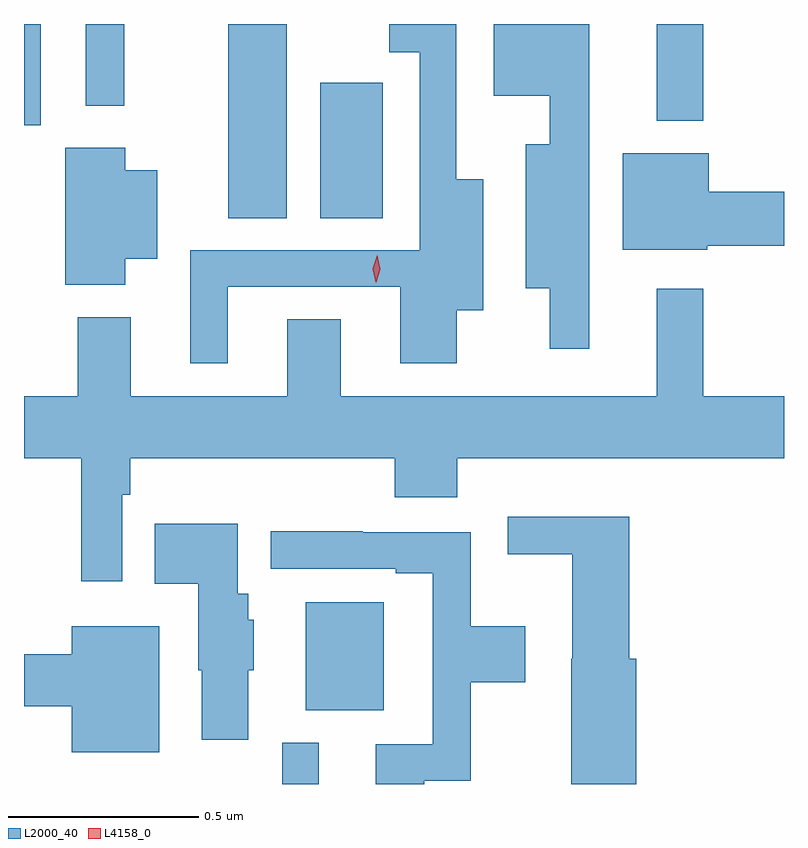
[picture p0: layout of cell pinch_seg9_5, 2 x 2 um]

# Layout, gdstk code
import gdstk
lib = gdstk.Library(unit=1e-6, precision=1e-09)
def R(c, l, rs):  # rectangles x0, y0, x1, y1
    for r in rs: c.add(gdstk.rectangle(r[:2], r[2:], *l))
def P(c, l, *ps):  # polygons
    for p in ps: c.add(gdstk.Polygon(p, *l))
L2000_40 = (2000, 40)
L4158_0 = (4158, 0)

pinch_seg9_5 = lib.new_cell('pinch_seg9_5')
R(pinch_seg9_5, L2000_40, [(1050.585,1231.527,1050.682,1231.636), (1050.647,1231.721,1050.853,1232.005), (1050.443,1233.016,1050.598,1233.527), (1050.686,1233.016,1050.85,1233.373), (1049.906,1233.26,1049.95,1233.527), (1051.571,1233.272,1051.693,1233.527), (1050.069,1233.312,1050.17,1233.527)])
P(pinch_seg9_5, L2000_40, [(1051.393,1233.527),(1051.142,1233.527),(1051.142,1233.338),(1051.289,1233.338),(1051.289,1233.211),(1051.226,1233.211),(1051.226,1232.831),(1051.289,1232.831),(1051.289,1232.673),(1051.393,1232.673)],
  [(1050.442,1232.835),(1050.896,1232.835),(1050.896,1232.634),(1051.045,1232.634),(1051.045,1232.774),(1051.114,1232.774),(1051.114,1233.118),(1051.044,1233.118),(1051.044,1233.527),(1050.867,1233.527),(1050.867,1233.453),(1050.948,1233.453),(1050.948,1232.931),(1050.344,1232.931),(1050.344,1232.634),(1050.442,1232.634)],
  [(1050.172,1232.909),(1050.256,1232.909),(1050.256,1233.142),(1050.172,1233.142),(1050.172,1233.202),(1050.014,1233.202),(1050.014,1232.841),(1050.172,1232.841)],
  [(1051.704,1232.944),(1051.906,1232.944),(1051.906,1233.086),(1051.708,1233.086),(1051.708,1233.187),(1051.481,1233.187),(1051.481,1232.933),(1051.704,1232.933)],
  [(1050.165,1232.288),(1050.185,1232.288),(1050.185,1232.384),(1050.881,1232.384),(1050.881,1232.282),(1051.046,1232.282),(1051.046,1232.384),(1051.906,1232.384),(1051.906,1232.548),(1051.693,1232.548),(1051.693,1232.83),(1051.571,1232.83),(1051.571,1232.548),(1050.739,1232.548),(1050.739,1232.75),(1050.599,1232.75),(1050.599,1232.548),(1050.187,1232.548),(1050.187,1232.755),(1050.047,1232.755),(1050.047,1232.548),(1049.906,1232.548),(1049.906,1232.384),(1050.057,1232.384),(1050.057,1232.061),(1050.165,1232.061)],
  [(1051.517,1231.857),(1051.499,1231.857),(1051.499,1232.23),(1051.179,1232.23),(1051.179,1232.132),(1051.349,1232.132),(1051.349,1231.857),(1051.346,1231.857),(1051.346,1231.527),(1051.517,1231.527)],
  [(1050.496,1231.827),(1050.511,1231.827),(1050.511,1231.959),(1050.496,1231.959),(1050.496,1232.028),(1050.469,1232.028),(1050.469,1232.212),(1050.25,1232.212),(1050.25,1232.054),(1050.365,1232.054),(1050.365,1231.827),(1050.374,1231.827),(1050.374,1231.644),(1050.496,1231.644)],
  [(1050.959,1231.535),(1051.082,1231.535),(1051.082,1231.795),(1051.225,1231.795),(1051.225,1231.942),(1051.082,1231.942),(1051.082,1232.19),(1050.797,1232.19),(1050.797,1232.192),(1050.555,1232.192),(1050.555,1232.094),(1050.884,1232.094),(1050.884,1232.082),(1050.981,1232.082),(1050.981,1231.632),(1050.831,1231.632),(1050.831,1231.527),(1050.959,1231.527)],
  [(1050.262,1231.942),(1050.032,1231.942),(1050.032,1231.868),(1049.906,1231.868),(1049.906,1231.732),(1050.032,1231.732),(1050.032,1231.61),(1050.262,1231.61)])
P(pinch_seg9_5, L4158_0, [(1050.832,1232.847),(1050.824,1232.883),(1050.835,1232.918),(1050.835,1232.918),(1050.836,1232.918),(1050.844,1232.882),(1050.833,1232.847),(1050.833,1232.847)])

lib.write_gds('pinch_seg9_5.gds')
